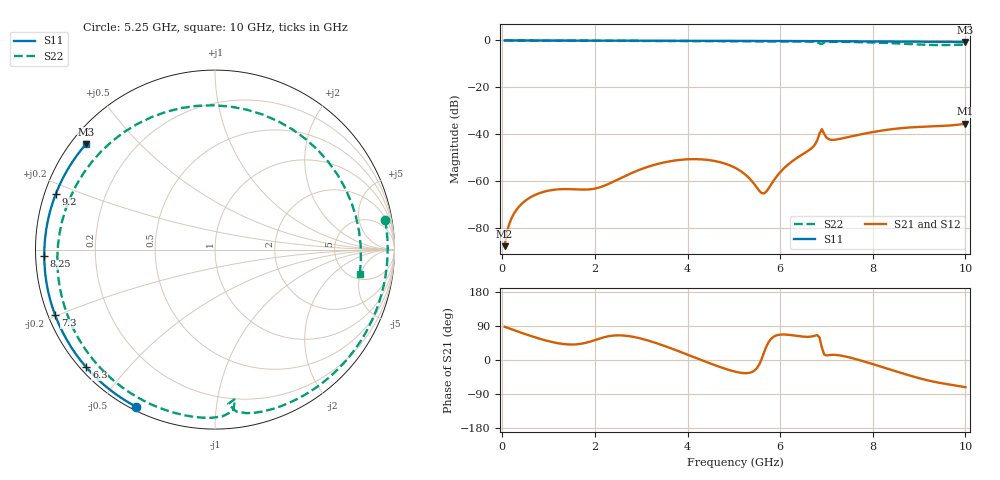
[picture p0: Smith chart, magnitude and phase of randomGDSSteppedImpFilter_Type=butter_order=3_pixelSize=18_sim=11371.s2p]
! freq	dB(S11)	phase(S11)	dB(S12)	phase(S12)
!  dB(S21)	phase(S21)	dB(S22)	phase(S22)
!S-par simulation data
#  GHz  S  DB  R 50
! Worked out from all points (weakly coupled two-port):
!   200 points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, 50 MHz to 10 GHz, reference 50 ohm
!   highest |S21| = -35.55 dB at 10 GHz (marker M1); lowest = -87.8 dB at 50 MHz (marker M2)
!   lowest |S11| = -0.6 dB at 10 GHz (marker M3), VSWR 26.91, Z = 2.1 + j17.8 ohm
!   |S11| at or under -10 dB: nowhere
!   |S22| runs from -2.0 to 0.0 dB; largest |S21 - S12| = 0
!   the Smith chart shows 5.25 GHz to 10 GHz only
!   S11 on the Smith chart (normalised r, x): 5.25 GHz: 0.01, -0.62; 6.3 GHz: 0.02, -0.39; 7.3 GHz: 0.02, -0.20; 8.25 GHz: 0.02, -0.02; 9.2 GHz: 0.03, +0.17; 10 GHz: 0.04, +0.36
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0.05  -0.00 -1.2  -87.77 87.8  -87.77 87.8  -0.00 -3.3
0.35  -0.01 -8.5  -71.14 74.5  -71.14 74.5  -0.03 -23.0
0.7  -0.02 -16.8  -65.97 60.1  -65.97 60.1  -0.06 -45.8
1.25  -0.04 -29.9  -63.47 43.3  -63.47 43.3  -0.10 -81.3
1.75  -0.05 -41.5  -63.63 43.9  -63.63 43.9  -0.14 -113.3
2.6  -0.08 -60.8  -58.32 64.8  -58.32 64.8  -0.20 -168.3
3.4  -0.10 -78.3  -52.46 41.5  -52.46 41.5  -0.25 137.6
4.2  -0.13 -95.2  -50.66 4.5  -50.66 4.5  -0.29 81.3
5.05  -0.17 -112.5  -54.57 -31.4  -54.57 -31.4  -0.32 22.9
5.25  -0.18 -116.5  -57.26 -34.7  -57.26 -34.7  -0.33 9.9
5.65  -0.21 -124.6  -65.27 19.2  -65.27 19.2  -0.35 -15.0
6.3  -0.25 -137.5  -50.97 64.7  -50.97 64.7  -0.42 -52.9
6.7  -0.28 -145.5  -45.60 62.6  -45.60 62.6  -0.57 -76.0
6.9  -0.30 -149.6  -37.86 33.1  -37.86 33.1  -1.52 -82.3
7.05  -0.31 -152.6  -42.15 12.8  -42.15 12.8  -0.56 -91.0
7.3  -0.33 -157.7  -41.96 11.9  -41.96 11.9  -0.58 -106.3
8.25  -0.43 -177.7  -38.29 -20.3  -38.29 -20.3  -1.04 -169.3
8.35  -0.44 -179.9  -38.02 -24.1  -38.02 -24.1  -1.12 -177.5
8.75  -0.49 171.1  -37.19 -39.3  -37.19 -39.3  -1.49 144.5
9.2  -0.54 160.7  -36.75 -54.1  -36.75 -54.1  -1.89 90.4
9.65  -0.60 149.6  -36.31 -64.6  -36.31 -64.6  -1.94 31.2
10  -0.65 140.7  -35.55 -71.7  -35.55 -71.7  -1.75 -9.4
